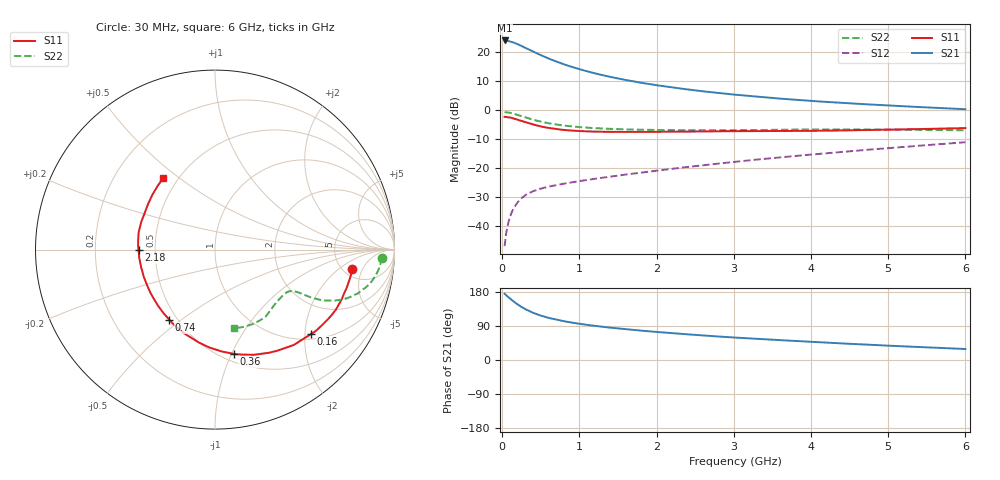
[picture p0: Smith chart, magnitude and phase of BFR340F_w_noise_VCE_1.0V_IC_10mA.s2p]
! Infineon Technologies  Discrete & RF Semiconductors
! BFR340F
! VCE =  1.0 V,  IC =  10 mA
! Common Emitter S-Parameters:  Nov 2015
# GHz  S  MA  R  50
!  f  S11  S21  S12  S22
! GHz  MAG  ANG  MAG  ANG  MAG  ANG  MAG  ANG
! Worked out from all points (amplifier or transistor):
!   206 points, 30 MHz to 6 GHz, reference 50 ohm
!   highest |S21| = 24.1 dB at 30 MHz (marker M1)
!   |S21| within 3 dB of that: start of sweep to 335.1 MHz
!   unconditionally stable (mu >= 1): 1.082 GHz to end of sweep
!   at 200 MHz: K = 0.30, MSG = 27.3 dB, |S12| = -31.7 dB
!   at 1.56 GHz: K = 1.17, MAG = 14.0 dB, |S12| = -22.3 dB
!   at 6 GHz: K = 1.02, MAG = 4.8 dB, |S12| = -11.0 dB
!   lowest NFmin = 1.46 dB at 450 MHz
!   S11 on the Smith chart (normalised r, x): 30 MHz: 5.98, -3.21; 160 MHz: 1.13, -2.15; 360 MHz: 0.57, -1.02; 740 MHz: 0.45, -0.45; 2.18 GHz: 0.40, -0.00; 6 GHz: 0.42, +0.44
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0.03  0.7712 -8.1  16.08 174.9  0.0045 83.3  0.9295 -2.8
0.07  0.7594 -18.8  15.85 167.0  0.0103 80.4  0.9186 -6.8
0.12  0.7396 -31.5  15.21 158.7  0.017 74.7  0.8915 -11.4
0.16  0.7126 -41.3  14.53 152.3  0.0216 70.5  0.8624 -14.4
0.2  0.6894 -50.4  13.86 146.3  0.0259 67.1  0.8318 -17.1
0.26  0.6483 -62.5  12.74 138.6  0.0312 62.6  0.7845 -20.2
0.3  0.6239 -70.0  12 134.0  0.0342 60.2  0.7539 -21.8
0.36  0.5899 -79.9  10.96 128.1  0.0378 57.5  0.7126 -23.5
0.44  0.5507 -91.6  9.738 121.4  0.0418 55.0  0.6657 -25.1
0.5  0.5267 -99.5  8.942 117.1  0.0444 53.7  0.6358 -25.8
0.6  0.4966 -110.6  7.832 111.1  0.0479 52.7  0.5967 -26.5
0.74  0.4665 -123.1  6.642 104.8  0.0524 52.6  0.5578 -26.9
0.9  0.4465 -134.9  5.617 98.6  0.0569 53.3  0.5264 -27.1
1.04  0.4356 -143.0  4.954 94.4  0.061 54.6  0.5079 -27.5
1.22  0.4278 -151.7  4.284 89.5  0.0662 56.2  0.4901 -28.1
1.5  0.4226 -162.3  3.54 83.2  0.0746 58.9  0.4723 -29.6
2.02  0.4244 -176.0  2.688 73.7  0.0916 63.1  0.457 -33.5
2.18  0.4262 -179.6  2.503 71.1  0.0971 64.2  0.4547 -34.9
3.1  0.4363 165.0  1.818 58.3  0.1324 68.5  0.4534 -44.3
4.1  0.4431 151.1  1.422 46.9  0.1768 70.1  0.4672 -53.6
5.1  0.4654 137.7  1.192 36.9  0.2276 69.8  0.4632 -64.7
6  0.4926 125.7  1.044 29.0  0.2808 67.8  0.4519 -76.1
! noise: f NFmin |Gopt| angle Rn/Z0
0.45  1.46  0.25  -1  0.28
0.9  1.58  0.23  10  0.3
1.9  2.07  0.09  -23  0.3
2.4  2.36  0.04  -58  0.31
